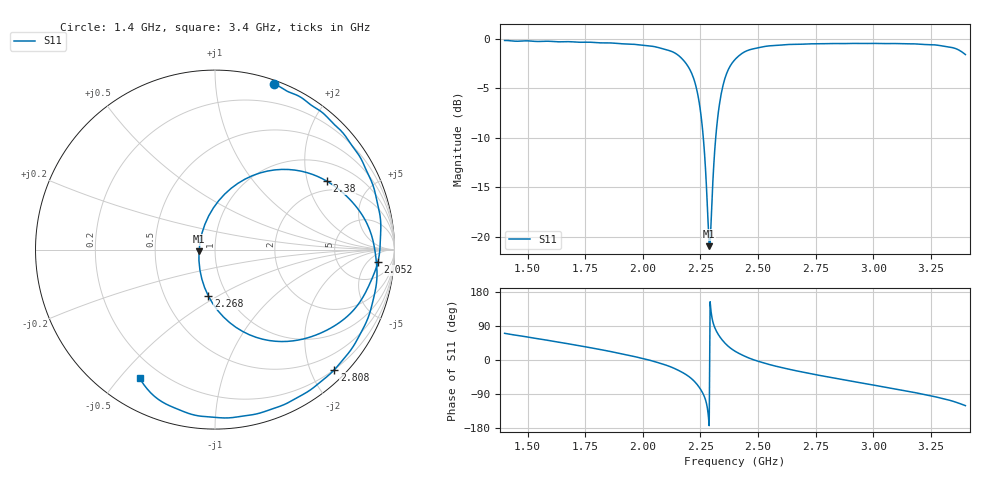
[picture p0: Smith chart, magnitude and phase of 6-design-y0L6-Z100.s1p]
#  Hz  S  RI  R  50
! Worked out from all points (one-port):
!   501 points, 1.4 GHz to 3.4 GHz, reference 50 ohm
!   lowest |S11| = -20.9 dB at 2.288 GHz (marker M1), VSWR 1.20, Z = 41.8 - j0.883 ohm
!   |S11| at or under -10 dB: 2.262 GHz to 2.316 GHz (53.91 MHz wide, 2.35 % of centre)
!   S11 on the Smith chart (normalised r, x): 1.4 GHz: 0.03, +1.42; 2.052 GHz: 13, -10; 2.268 GHz: 0.82, -0.45; 2.38 GHz: 1.62, +2.65; 2.808 GHz: 0.20, -2.39; 3.4 GHz: 0.12, -0.57
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1.4e9  0.3284 0.9216
1.652e9  0.6771 0.6857
1.9e9  0.8996 0.2821
2.052e9  0.9072 -0.0703
2.112e9  0.8379 -0.2404
2.152e9  0.7392 -0.37
2.192e9  0.5618 -0.4761
2.224e9  0.3365 -0.5107
2.248e9  0.1165 -0.433
2.268e9  -0.0372 -0.2581
2.284e9  -0.0893 -0.0624
2.288e9  -0.0892 -0.0105
2.296e9  -0.0725 0.092
2.312e9  0.0205 0.2723
2.332e9  0.2089 0.4121
2.352e9  0.4095 0.4463
2.38e9  0.6224 0.3818
2.4e9  0.7206 0.3094
2.44e9  0.8406 0.157
2.488e9  0.8923 -0.0139
2.552e9  0.8982 -0.1979
2.652e9  0.835 -0.4207
2.808e9  0.6643 -0.6701
2.9e9  0.5375 -0.7774
3.152e9  0.1214 -0.9327
3.296e9  -0.174 -0.9028
3.352e9  -0.3063 -0.841
3.4e9  -0.4205 -0.7163
